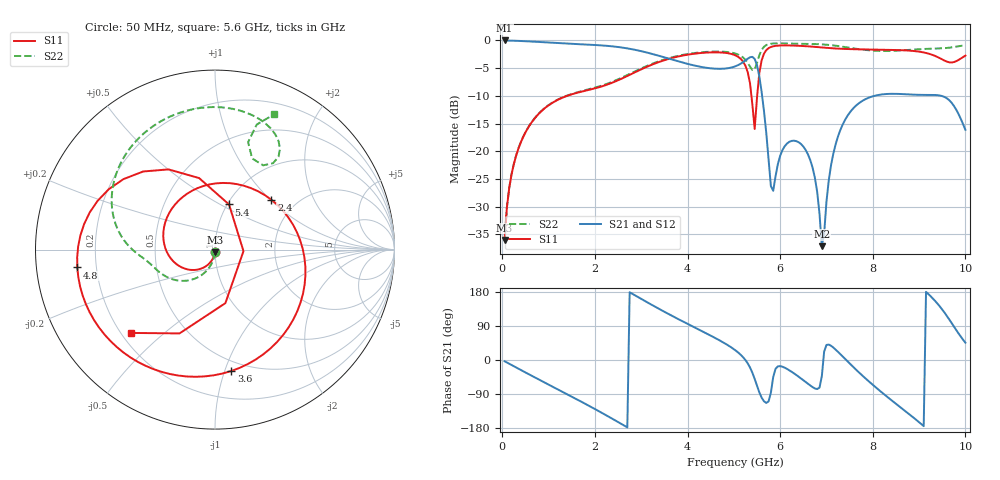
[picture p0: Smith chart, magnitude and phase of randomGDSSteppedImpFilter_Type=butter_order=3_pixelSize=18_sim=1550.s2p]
! freq	dB(S11)	phase(S11)	dB(S12)	phase(S12)
!  dB(S21)	phase(S21)	dB(S22)	phase(S22)
!S-par simulation data
#  GHz  S  DB  R 50
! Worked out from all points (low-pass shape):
!   200 points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, 50 MHz to 10 GHz, reference 50 ohm
!   highest |S21| = -0.01 dB at 50 MHz (marker M1); lowest = -37.1 dB at 6.9 GHz (marker M2)
!   |S21| within 3 dB of the highest: start of sweep to 3.478 GHz; 5.372 GHz to 5.405 GHz (33.88 MHz wide, 0.629 % of centre)
!   lowest |S11| = -36.0 dB at 50 MHz (marker M3), VSWR 1.03, Z = 49.9 - j1.57 ohm
!   |S11| at or under -10 dB: start of sweep to 1.402 GHz; 5.379 GHz to 5.504 GHz (124.7 MHz wide, 2.29 % of centre)
!   |S22| runs from -36.0 to -0.5 dB; largest |S21 - S12| = 0
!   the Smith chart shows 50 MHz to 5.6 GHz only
!   S11 on the Smith chart (normalised r, x): 50 MHz: 1.00, -0.03; 2.4 GHz: 1.50, +1.01; 3.6 GHz: 0.42, -1.05; 4.8 GHz: 0.13, -0.06; 5.4 GHz: 1.02, +0.55; 5.6 GHz: 0.24, -0.39
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0.05  -36.05 -93.7  -0.01 -3.4  -0.01 -3.4  -36.03 -92.2
0.5  -16.61 -131.1  -0.14 -32.9  -0.14 -32.9  -16.58 -115.6
1.75  -9.17 116.4  -0.72 -112.9  -0.72 -112.9  -9.07 -163.2
2.4  -7.55 41.5  -1.09 -156.7  -1.09 -156.7  -7.39 -176.2
3.4  -3.85 -65.2  -2.82 133.9  -2.82 133.9  -3.71 151.6
3.6  -3.32 -82.4  -3.30 120.7  -3.30 120.7  -3.19 142.7
4.8  -2.23 -172.6  -5.09 44.3  -5.09 44.3  -2.05 82.6
5.05  -2.76 163.5  -4.61 24.0  -4.61 24.0  -2.41 68.3
5.4  -11.59 72.7  -2.97 -33.6  -2.97 -33.6  -5.34 60.3
5.45  -15.98 -3.1  -3.34 -50.0  -3.34 -50.0  -5.22 67.8
5.6  -3.60 -135.4  -9.29 -99.3  -9.29 -99.3  -1.71 66.5
5.85  -1.06 167.2  -27.15 -45.1  -27.15 -45.1  -0.55 40.2
6.3  -0.93 110.4  -18.10 -35.4  -18.10 -35.4  -0.58 5.7
6.7  -1.13 53.3  -22.96 -71.5  -22.96 -71.5  -0.64 -25.6
6.9  -1.27 18.3  -37.15 -42.8  -37.15 -42.8  -0.71 -43.0
7.1  -1.40 -19.5  -22.48 37.5  -22.48 37.5  -0.85 -61.8
7.45  -1.56 -81.8  -13.66 -3.1  -13.66 -3.1  -1.26 -98.2
8.35  -1.71 175.7  -9.65 -101.0  -9.65 -101.0  -1.90 155.4
9.15  -2.26 95.4  -9.84 179.9  -9.84 179.9  -1.53 75.1
9.55  -3.65 12.8  -10.21 125.0  -10.21 125.0  -1.40 46.8
9.8  -3.76 -71.6  -12.47 79.5  -12.47 79.5  -1.12 32.4
10  -2.75 -129.0  -16.14 45.7  -16.14 45.7  -0.86 21.0
